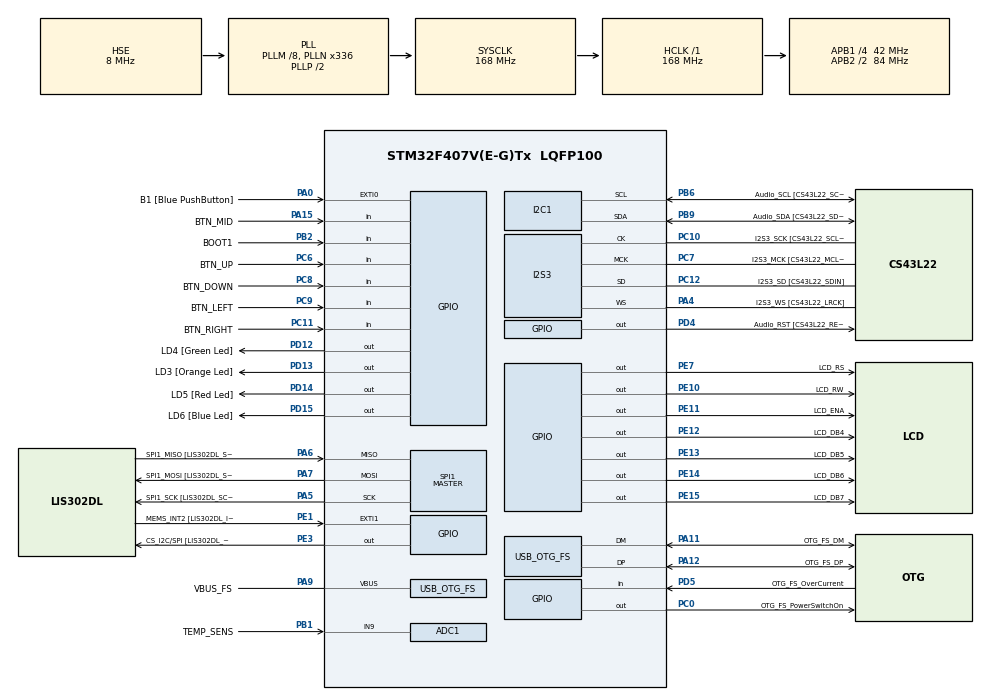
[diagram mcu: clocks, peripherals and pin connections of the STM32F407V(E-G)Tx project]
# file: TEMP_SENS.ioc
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ADC1.Channel-0\#ChannelRegularConversion=ADC_CHANNEL_9
ADC1.NbrOfConversion=1
ADC1.NbrOfConversionFlag=1
ADC1.Rank-0\#ChannelRegularConversion=1
ADC1.SamplingTime-0\#ChannelRegularConversion=ADC_SAMPLETIME_3CYCLES
ADC1.master=1
I2S3.AudioFreq-Half_Duplex_Master=I2S_AUDIOFREQ_96K
I2S3.ErrorAudioFreq=-2.34 %
I2S3.ErrorAudioFreq-Half_Duplex_Master=0.8 %
I2S3.FullDuplexMode=I2S_FULLDUPLEXMODE_DISABLE
I2S3.Instance=SPI$Index
I2S3.RealAudioFreq=93.75 KHz
I2S3.RealAudioFreq-Half_Duplex_Master=96.774 KHz
I2S3.VirtualMode=I2S_MODE_MASTER
Mcu.Family=STM32F4
Mcu.Name=STM32F407V(E-G)Tx
Mcu.Package=LQFP100
NVIC.OTG_FS_IRQn=true\:0\:0\:false\:false\:true\:true\:true\:true
NVIC.PriorityGroup=NVIC_PRIORITYGROUP_0
PA0-WKUP.GPIO_Label=B1 [Blue PushButton]
PA0-WKUP.GPIO_ModeDefaultEXTI=GPIO_MODE_EVT_RISING
PA0-WKUP.GPIO_PuPd=GPIO_NOPULL
PA0-WKUP.Signal=GPXTI0
PA10.GPIO_Label=OTG_FS_ID
PA10.GPIO_Mode=GPIO_MODE_AF_PP
PA10.GPIO_PuPd=GPIO_NOPULL
PA10.GPIO_Speed=GPIO_SPEED_FREQ_LOW
PA10.Signal=USB_OTG_FS_ID
PA11.GPIO_Label=OTG_FS_DM
PA11.GPIO_Mode=GPIO_MODE_AF_PP
PA11.GPIO_PuPd=GPIO_NOPULL
PA11.GPIO_Speed=GPIO_SPEED_FREQ_LOW
PA11.Mode=Host_Only
PA11.Signal=USB_OTG_FS_DM
PA12.GPIO_Label=OTG_FS_DP
PA12.GPIO_Mode=GPIO_MODE_AF_PP
PA12.GPIO_PuPd=GPIO_NOPULL
PA12.GPIO_Speed=GPIO_SPEED_FREQ_LOW
PA12.Mode=Host_Only
PA12.Signal=USB_OTG_FS_DP
PA13.GPIO_Label=SWDIO
PA13.Mode=Serial_Wire
PA13.Signal=SYS_JTMS-SWDIO
PA14.GPIO_Label=SWCLK
PA14.Mode=Serial_Wire
PA14.Signal=SYS_JTCK-SWCLK
PA15.GPIO_Label=BTN_MID
PA15.Signal=GPIO_Input
PA4.GPIO_Label=I2S3_WS [CS43L22_LRCK]
PA4.GPIO_Mode=GPIO_MODE_AF_PP
PA4.GPIO_PuPd=GPIO_NOPULL
PA4.GPIO_Speed=GPIO_SPEED_FREQ_LOW
PA4.Mode=Half_Duplex_Master
PA4.Signal=I2S3_WS
PA5.GPIO_Label=SPI1_SCK [LIS302DL_SCL/SPC]
PA5.GPIO_Mode=GPIO_MODE_AF_PP
PA5.GPIO_PuPd=GPIO_NOPULL
PA5.GPIO_Speed=GPIO_SPEED_FREQ_LOW
PA5.Mode=Full_Duplex_Master
PA5.Signal=SPI1_SCK
PA6.GPIO_Label=SPI1_MISO [LIS302DL_SDO]
PA6.GPIO_Mode=GPIO_MODE_AF_PP
PA6.GPIO_PuPd=GPIO_NOPULL
PA6.GPIO_Speed=GPIO_SPEED_FREQ_LOW
PA6.Mode=Full_Duplex_Master
PA6.Signal=SPI1_MISO
PA7.GPIO_Label=SPI1_MOSI [LIS302DL_SDA/SDI/SDO]
PA7.GPIO_Mode=GPIO_MODE_AF_PP
PA7.GPIO_PuPd=GPIO_NOPULL
PA7.GPIO_Speed=GPIO_SPEED_FREQ_LOW
PA7.Mode=Full_Duplex_Master
PA7.Signal=SPI1_MOSI
PA9.GPIO_Label=VBUS_FS
PA9.GPIO_Mode=GPIO_MODE_INPUT
PA9.GPIO_PuPd=GPIO_NOPULL
PA9.Mode=Activate_VBUS
PA9.Signal=USB_OTG_FS_VBUS
PB1.GPIO_Label=TEMP_SENS
PB1.Signal=ADCx_IN9
PB10.GPIO_Label=CLK_IN [MP45DT02_CLK]
PB10.GPIO_Mode=GPIO_MODE_AF_PP
PB10.GPIO_PuPd=GPIO_NOPULL
PB10.GPIO_Speed=GPIO_SPEED_FREQ_LOW
PB10.Signal=I2S2_CK
PB2.GPIO_Label=BOOT1
PB2.GPIO_Mode=GPIO_MODE_INPUT
PB2.GPIO_PuPd=GPIO_NOPULL
PB2.Signal=GPIO_Input
PB3.GPIO_Label=SWO
PB3.Signal=SYS_JTDO-SWO
PB6.GPIO_Label=Audio_SCL [CS43L22_SCL]
PB6.GPIO_Mode=GPIO_MODE_AF_OD
PB6.GPIO_Pu=GPIO_PULLUP
PB6.GPIO_PuPd=GPIO_NOPULL
PB6.GPIO_Speed=GPIO_SPEED_FREQ_LOW
PB6.Mode=I2C
PB6.Signal=I2C1_SCL
PB9.GPIO_Label=Audio_SDA [CS43L22_SDA]
PB9.GPIO_Mode=GPIO_MODE_AF_OD
PB9.GPIO_Pu=GPIO_PULLUP
PB9.GPIO_PuPd=GPIO_NOPULL
PB9.GPIO_Speed=GPIO_SPEED_FREQ_LOW
PB9.Mode=I2C
PB9.Signal=I2C1_SDA
PC0.GPIO_Label=OTG_FS_PowerSwitchOn
PC0.GPIO_PuPd=GPIO_NOPULL
PC0.GPIO_Speed=GPIO_SPEED_FREQ_LOW
PC0.PinState=GPIO_PIN_SET
PC0.Signal=GPIO_Output
PC10.GPIO_Label=I2S3_SCK [CS43L22_SCLK]
PC10.GPIO_Mode=GPIO_MODE_AF_PP
PC10.GPIO_PuPd=GPIO_NOPULL
PC10.GPIO_Speed=GPIO_SPEED_FREQ_LOW
PC10.Mode=Half_Duplex_Master
PC10.Signal=I2S3_CK
PC11.GPIO_Label=BTN_RIGHT
PC11.Signal=GPIO_Input
PC12.GPIO_Label=I2S3_SD [CS43L22_SDIN]
PC12.GPIO_Mode=GPIO_MODE_AF_PP
PC12.GPIO_PuPd=GPIO_NOPULL
PC12.GPIO_Speed=GPIO_SPEED_FREQ_LOW
PC12.Mode=Half_Duplex_Master
PC12.Signal=I2S3_SD
PC14-OSC32_IN.GPIO_Label=PC14-OSC32_IN
PC14-OSC32_IN.Mode=LSE-External-Oscillator
PC14-OSC32_IN.Signal=RCC_OSC32_IN
PC15-OSC32_OUT.GPIO_Label=PC15-OSC32_OUT
PC15-OSC32_OUT.Mode=LSE-External-Oscillator
PC15-OSC32_OUT.Signal=RCC_OSC32_OUT
PC3.GPIO_Label=PDM_OUT [MP45DT02_DOUT]
PC3.GPIO_Mode=GPIO_MODE_AF_PP
PC3.GPIO_PuPd=GPIO_NOPULL
PC3.GPIO_Speed=GPIO_SPEED_FREQ_LOW
PC3.Signal=I2S2_SD
PC6.GPIO_Label=BTN_UP
PC6.Signal=GPIO_Input
PC7.GPIO_Label=I2S3_MCK [CS43L22_MCLK]
PC7.GPIO_Mode=GPIO_MODE_AF_PP
PC7.GPIO_PuPd=GPIO_NOPULL
PC7.GPIO_Speed=GPIO_SPEED_FREQ_LOW
PC7.Mode=Master_Clock_Activated
PC7.Signal=I2S3_MCK
PC8.GPIO_Label=BTN_DOWN
PC8.Signal=GPIO_Input
PC9.GPIO_Label=BTN_LEFT
PC9.Signal=GPIO_Input
PD12.GPIO_Label=LD4 [Green Led]
PD12.GPIO_PuPd=GPIO_NOPULL
PD12.GPIO_Speed=GPIO_SPEED_FREQ_LOW
PD12.Signal=GPIO_Output
PD13.GPIO_Label=LD3 [Orange Led]
PD13.GPIO_PuPd=GPIO_NOPULL
PD13.GPIO_Speed=GPIO_SPEED_FREQ_LOW
PD13.Signal=GPIO_Output
PD14.GPIO_Label=LD5 [Red Led]
PD14.GPIO_PuPd=GPIO_NOPULL
PD14.GPIO_Speed=GPIO_SPEED_FREQ_LOW
PD14.Signal=GPIO_Output
PD15.GPIO_Label=LD6 [Blue Led]
PD15.GPIO_PuPd=GPIO_NOPULL
PD15.GPIO_Speed=GPIO_SPEED_FREQ_LOW
PD15.Signal=GPIO_Output
PD4.GPIO_Label=Audio_RST [CS43L22_RESET]
PD4.GPIO_PuPd=GPIO_NOPULL
PD4.GPIO_Speed=GPIO_SPEED_FREQ_LOW
PD4.Signal=GPIO_Output
PD5.GPIO_Label=OTG_FS_OverCurrent
PD5.GPIO_Mode=GPIO_MODE_INPUT
PD5.GPIO_PuPd=GPIO_NOPULL
PD5.Signal=GPIO_Input
PE1.GPIO_Label=MEMS_INT2 [LIS302DL_INT2]
PE1.GPIO_ModeDefaultEXTI=GPIO_MODE_EVT_RISING
PE1.GPIO_PuPd=GPIO_NOPULL
PE1.Signal=GPXTI1
PE10.GPIO_Label=LCD_RW
PE10.Signal=GPIO_Output
PE11.GPIO_Label=LCD_ENA
PE11.Signal=GPIO_Output
PE12.GPIO_Label=LCD_DB4
PE12.Signal=GPIO_Output
PE13.GPIO_Label=LCD_DB5
PE13.Signal=GPIO_Output
PE14.GPIO_Label=LCD_DB6
PE14.Signal=GPIO_Output
PE15.GPIO_Label=LCD_DB7
PE15.Signal=GPIO_Output
PE3.GPIO_Label=CS_I2C/SPI [LIS302DL_CS_I2C/SPI]
PE3.GPIO_PuPd=GPIO_NOPULL
PE3.GPIO_Speed=GPIO_SPEED_FREQ_LOW
PE3.Signal=GPIO_Output
PE7.GPIO_Label=LCD_RS
PE7.Signal=GPIO_Output
PE9.Signal=S_TIM1_CH1
PH0-OSC_IN.GPIO_Label=PH0-OSC_IN
PH0-OSC_IN.Mode=HSE-External-Oscillator
PH0-OSC_IN.Signal=RCC_OSC_IN
PH1-OSC_OUT.GPIO_Label=PH1-OSC_OUT
PH1-OSC_OUT.Mode=HSE-External-Oscillator
PH1-OSC_OUT.Signal=RCC_OSC_OUT
ProjectManager.HeapSize=0x200
ProjectManager.StackSize=0x400
ProjectManager.TargetToolchain=STM32CubeIDE
RCC.48MHZClocksFreq_Value=48000000
RCC.AHBFreq_Value=168000000
RCC.APB1CLKDivider=RCC_HCLK_DIV4
RCC.APB1Freq_Value=42000000
RCC.APB1TimFreq_Value=84000000
RCC.APB2CLKDivider=RCC_HCLK_DIV2
RCC.APB2Freq_Value=84000000
RCC.APB2TimFreq_Value=168000000
RCC.CortexFreq_Value=168000000
RCC.HCLKFreq_Value=168000000
RCC.HSE_VALUE=8000000
RCC.HSI_VALUE=16000000
RCC.PLLM=8
RCC.PLLN=336
RCC.PLLQ=7
RCC.SYSCLKFreq_VALUE=168000000
RCC.SYSCLKSource=RCC_SYSCLKSOURCE_PLLCLK
RCC.VCOOutputFreq_Value=336000000
SH.ADCx_IN9.0=ADC1_IN9,IN9
SH.S_TIM1_CH1.0=TIM1_CH1
SPI1.BaudRatePrescaler-Full_Duplex_Master=SPI_BAUDRATEPRESCALER_2
SPI1.CalculateBaudRate-Full_Duplex_Master=42.0 MBits/s
SPI1.Direction=SPI_DIRECTION_2LINES
SPI1.Mode=SPI_MODE_MASTER
SPI1.Mode-Full_Duplex_Master=SPI_MODE_MASTER
SPI1.VirtualType=VM_MASTER
USB_HOST.BSP.number=1
USB_HOST.USBH_HandleTypeDef-CDC_FS=hUsbHostFS
USB_HOST.VirtualModeFS=Cdc
USB_HOST0.BSP.STBoard=false
USB_HOST0.BSP.api=Unknown
USB_HOST0.BSP.instance=PC0
USB_HOST0.BSP.ip=GPIO
USB_HOST0.BSP.mode=Output
USB_HOST0.BSP.name=Drive_VBUS_FS
USB_HOST0.BSP.solution=PC0
USB_OTG_FS.VirtualMode=Host_Only
USB_OTG_FS.phy_itface=HCD_PHY_EMBEDDED
VP_TIM11_VS_ClockSourceINT.Mode=Enable_Timer
VP_USB_HOST_VS_USB_HOST_CDC_FS.Mode=CDC_FS
board=STM32F407G-DISC1

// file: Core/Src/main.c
/* USER CODE BEGIN Header */
/**
  ******************************************************************************
  * @file           : main.c
  * @brief          : Main program body
  ******************************************************************************
  * @attention
  *
  * Copyright (c) 2023 STMicroelectronics.
  * All rights reserved.
  *
  * This software is licensed under terms that can be found in the LICENSE file
  * in the root directory of this software component.
  * If no LICENSE file comes with this software, it is provided AS-IS.
  *
  ******************************************************************************
  */
/* USER CODE END Header */
#include "main.h"
#include "usb_host.h"

/* USER CODE BEGIN Includes */
#include "lcd.h"
#include "buttons.h"
#include "lcd_characters.h"
#include "main_screen.h"
#include "change_datetime_screen.h"
#include "change_temperature_screen.h"
#include "history_screen.h"
#include "temp_meter.h"
#include "screens_manager.h"

/* USER CODE END Includes */

ADC_HandleTypeDef hadc1;

I2C_HandleTypeDef hi2c1;

I2S_HandleTypeDef hi2s3;

SPI_HandleTypeDef hspi1;

TIM_HandleTypeDef htim11;

/* USER CODE BEGIN PV */
static Lcd_PortType ports[] = {
		LCD_DB4_GPIO_Port,
		LCD_DB5_GPIO_Port,
		LCD_DB6_GPIO_Port,
		LCD_DB7_GPIO_Port
};

static Lcd_PinType pins[] = {
		LCD_DB4_Pin,
		LCD_DB5_Pin,
		LCD_DB6_Pin,
		LCD_DB7_Pin
};

static Lcd_HandleTypeDef lcd;

static uint8_t screen_index = 0;
static uint8_t last_screen_index = 0;
/* USER CODE END PV */

void SystemClock_Config(void);
static void MX_GPIO_Init(void);
static void MX_ADC1_Init(void);
static void MX_I2C1_Init(void);
static void MX_I2S3_Init(void);
static void MX_SPI1_Init(void);
static void MX_TIM11_Init(void);
void MX_USB_HOST_Process(void);

int main(void)
{

  /* MCU Configuration--------------------------------------------------------*/

  /* Reset of all peripherals, Initializes the Flash interface and the Systick. */
  HAL_Init();

  /* Configure the system clock */
  SystemClock_Config();

  /* Initialize all configured peripherals */
  MX_GPIO_Init();
  MX_ADC1_Init();
  MX_I2C1_Init();
  MX_I2S3_Init();
  MX_SPI1_Init();
  MX_USB_HOST_Init();
  MX_TIM11_Init();
  /* USER CODE BEGIN 2 */
	lcd = Lcd_create(
			ports,
			pins,
			LCD_RS_GPIO_Port,
			LCD_RS_Pin,
			LCD_ENA_GPIO_Port,
			LCD_ENA_Pin,
			LCD_4_BIT_MODE
	);

	Lcd_define_char(&lcd, 1, celsiusChar);
	Lcd_define_char(&lcd, 2, alarmCelsiusChar);
	Lcd_define_char(&lcd, 3, arrowUpChar);
	Lcd_define_char(&lcd, 4, arrowDownChar);

	tempMeterInit(&lcd, &hadc1);
	screensManagerInit(&lcd, &last_screen_index, &screen_index);

	mainScreenInit(&lcd);
	changeTemperatureScreenInit(&lcd);
	changeDateTimeScreenInit(&lcd);
	historyScreenInit(&lcd);

	setBtnUpFun(&doNothing);
	setBtnDownFun(&doNothing);
	setBtnLeftFun(&decrementDisplayIndex);
	setBtnMidFun(&doNothing);
	setBtnRightFun(&incrementDisplayIndex);
  /* USER CODE END 2 */

  /* Infinite loop */
  /* USER CODE BEGIN WHILE */
	while(1)
	{
		cycleThroughSecond();
		callFunctionByButtonPushed();
		switch (getScreenIndex())
		{
			case 0:
				displayMainScreen();
				break;
			case 1:
				displayChangeDateTimeScreen();
				break;
			case 2:
				displayChangeTemperatureScreen();
				break;
			case 3:
				displayHistoryScreen();
				break;
		}
		setLastScreenIndex();
		checkTemperatureState();
	}
    /* USER CODE END WHILE */
    MX_USB_HOST_Process();

}

void SystemClock_Config(void)
{
  RCC_OscInitTypeDef RCC_OscInitStruct = {0};
  RCC_ClkInitTypeDef RCC_ClkInitStruct = {0};

  /** Configure the main internal regulator output voltage
  */
  __HAL_RCC_PWR_CLK_ENABLE();
  __HAL_PWR_VOLTAGESCALING_CONFIG(PWR_REGULATOR_VOLTAGE_SCALE1);

  /** Initializes the RCC Oscillators according to the specified parameters
  * in the RCC_OscInitTypeDef structure.
  */
  RCC_OscInitStruct.OscillatorType = RCC_OSCILLATORTYPE_HSE;
  RCC_OscInitStruct.HSEState = RCC_HSE_ON;
  RCC_OscInitStruct.PLL.PLLState = RCC_PLL_ON;
  RCC_OscInitStruct.PLL.PLLSource = RCC_PLLSOURCE_HSE;
  RCC_OscInitStruct.PLL.PLLM = 8;
  RCC_OscInitStruct.PLL.PLLN = 336;
  RCC_OscInitStruct.PLL.PLLP = RCC_PLLP_DIV2;
  RCC_OscInitStruct.PLL.PLLQ = 7;
  if (HAL_RCC_OscConfig(&RCC_OscInitStruct) != HAL_OK)
  {
    Error_Handler();
  }

  /** Initializes the CPU, AHB and APB buses clocks
  */
  RCC_ClkInitStruct.ClockType = RCC_CLOCKTYPE_HCLK|RCC_CLOCKTYPE_SYSCLK
                              |RCC_CLOCKTYPE_PCLK1|RCC_CLOCKTYPE_PCLK2;
  RCC_ClkInitStruct.SYSCLKSource = RCC_SYSCLKSOURCE_PLLCLK;
  RCC_ClkInitStruct.AHBCLKDivider = RCC_SYSCLK_DIV1;
  RCC_ClkInitStruct.APB1CLKDivider = RCC_HCLK_DIV4;
  RCC_ClkInitStruct.APB2CLKDivider = RCC_HCLK_DIV2;

  if (HAL_RCC_ClockConfig(&RCC_ClkInitStruct, FLASH_LATENCY_5) != HAL_OK)
  {
    Error_Handler();
  }
}

static void MX_ADC1_Init(void)
{

  ADC_ChannelConfTypeDef sConfig = {0};

  /** Configure the global features of the ADC (Clock, Resolution, Data Alignment and number of conversion)
  */
  hadc1.Instance = ADC1;
  hadc1.Init.ClockPrescaler = ADC_CLOCK_SYNC_PCLK_DIV4;
  hadc1.Init.Resolution = ADC_RESOLUTION_12B;
  hadc1.Init.ScanConvMode = DISABLE;
  hadc1.Init.ContinuousConvMode = DISABLE;
  hadc1.Init.DiscontinuousConvMode = DISABLE;
  hadc1.Init.ExternalTrigConvEdge = ADC_EXTERNALTRIGCONVEDGE_NONE;
  hadc1.Init.ExternalTrigConv = ADC_SOFTWARE_START;
  hadc1.Init.DataAlign = ADC_DATAALIGN_RIGHT;
  hadc1.Init.NbrOfConversion = 1;
  hadc1.Init.DMAContinuousRequests = DISABLE;
  hadc1.Init.EOCSelection = ADC_EOC_SINGLE_CONV;
  if (HAL_ADC_Init(&hadc1) != HAL_OK)
  {
    Error_Handler();
  }

  /** Configure for the selected ADC regular channel its corresponding rank in the sequencer and its sample time.
  */
  sConfig.Channel = ADC_CHANNEL_9;
  sConfig.Rank = 1;
  sConfig.SamplingTime = ADC_SAMPLETIME_3CYCLES;
  if (HAL_ADC_ConfigChannel(&hadc1, &sConfig) != HAL_OK)
  {
    Error_Handler();
  }

}

static void MX_I2C1_Init(void)
{

  hi2c1.Instance = I2C1;
  hi2c1.Init.ClockSpeed = 100000;
  hi2c1.Init.DutyCycle = I2C_DUTYCYCLE_2;
  hi2c1.Init.OwnAddress1 = 0;
  hi2c1.Init.AddressingMode = I2C_ADDRESSINGMODE_7BIT;
  hi2c1.Init.DualAddressMode = I2C_DUALADDRESS_DISABLE;
  hi2c1.Init.OwnAddress2 = 0;
  hi2c1.Init.GeneralCallMode = I2C_GENERALCALL_DISABLE;
  hi2c1.Init.NoStretchMode = I2C_NOSTRETCH_DISABLE;
  if (HAL_I2C_Init(&hi2c1) != HAL_OK)
  {
    Error_Handler();
  }

}

static void MX_I2S3_Init(void)
{

  hi2s3.Instance = SPI3;
  hi2s3.Init.Mode = I2S_MODE_MASTER_TX;
  hi2s3.Init.Standard = I2S_STANDARD_PHILIPS;
  hi2s3.Init.DataFormat = I2S_DATAFORMAT_16B;
  hi2s3.Init.MCLKOutput = I2S_MCLKOUTPUT_ENABLE;
  hi2s3.Init.AudioFreq = I2S_AUDIOFREQ_96K;
  hi2s3.Init.CPOL = I2S_CPOL_LOW;
  hi2s3.Init.ClockSource = I2S_CLOCK_PLL;
  hi2s3.Init.FullDuplexMode = I2S_FULLDUPLEXMODE_DISABLE;
  if (HAL_I2S_Init(&hi2s3) != HAL_OK)
  {
    Error_Handler();
  }

}

static void MX_SPI1_Init(void)
{

  /* SPI1 parameter configuration*/
  hspi1.Instance = SPI1;
  hspi1.Init.Mode = SPI_MODE_MASTER;
  hspi1.Init.Direction = SPI_DIRECTION_2LINES;
  hspi1.Init.DataSize = SPI_DATASIZE_8BIT;
  hspi1.Init.CLKPolarity = SPI_POLARITY_LOW;
  hspi1.Init.CLKPhase = SPI_PHASE_1EDGE;
  hspi1.Init.NSS = SPI_NSS_SOFT;
  hspi1.Init.BaudRatePrescaler = SPI_BAUDRATEPRESCALER_2;
  hspi1.Init.FirstBit = SPI_FIRSTBIT_MSB;
  hspi1.Init.TIMode = SPI_TIMODE_DISABLE;
  hspi1.Init.CRCCalculation = SPI_CRCCALCULATION_DISABLE;
  hspi1.Init.CRCPolynomial = 10;
  if (HAL_SPI_Init(&hspi1) != HAL_OK)
  {
    Error_Handler();
  }

}

static void MX_TIM11_Init(void)
{

  htim11.Instance = TIM11;
  htim11.Init.Prescaler = 0;
  htim11.Init.CounterMode = TIM_COUNTERMODE_UP;
  htim11.Init.Period = 65535;
  htim11.Init.ClockDivision = TIM_CLOCKDIVISION_DIV1;
  htim11.Init.AutoReloadPreload = TIM_AUTORELOAD_PRELOAD_DISABLE;
  if (HAL_TIM_Base_Init(&htim11) != HAL_OK)
  {
    Error_Handler();
  }

}

static void MX_GPIO_Init(void)
{
  GPIO_InitTypeDef GPIO_InitStruct = {0};

  /* GPIO Ports Clock Enable */
  __HAL_RCC_GPIOE_CLK_ENABLE();
  __HAL_RCC_GPIOC_CLK_ENABLE();
  __HAL_RCC_GPIOH_CLK_ENABLE();
  __HAL_RCC_GPIOA_CLK_ENABLE();
  __HAL_RCC_GPIOB_CLK_ENABLE();
  __HAL_RCC_GPIOD_CLK_ENABLE();

  /*Configure GPIO pin Output Level */
  HAL_GPIO_WritePin(GPIOE, CS_I2C_SPI_Pin|LCD_RS_Pin|LCD_RW_Pin|LCD_ENA_Pin
                          |LCD_DB4_Pin|LCD_DB5_Pin|LCD_DB6_Pin|LCD_DB7_Pin, GPIO_PIN_RESET);

  /*Configure GPIO pin Output Level */
  HAL_GPIO_WritePin(OTG_FS_PowerSwitchOn_GPIO_Port, OTG_FS_PowerSwitchOn_Pin, GPIO_PIN_SET);

  /*Configure GPIO pin Output Level */
  HAL_GPIO_WritePin(GPIOD, LD4_Pin|LD3_Pin|LD5_Pin|LD6_Pin
                          |Audio_RST_Pin, GPIO_PIN_RESET);

  /*Configure GPIO pins : CS_I2C_SPI_Pin LCD_RS_Pin LCD_RW_Pin LCD_ENA_Pin
                           LCD_DB4_Pin LCD_DB5_Pin LCD_DB6_Pin LCD_DB7_Pin */
  GPIO_InitStruct.Pin = CS_I2C_SPI_Pin|LCD_RS_Pin|LCD_RW_Pin|LCD_ENA_Pin
                          |LCD_DB4_Pin|LCD_DB5_Pin|LCD_DB6_Pin|LCD_DB7_Pin;
  GPIO_InitStruct.Mode = GPIO_MODE_OUTPUT_PP;
  GPIO_InitStruct.Pull = GPIO_NOPULL;
  GPIO_InitStruct.Speed = GPIO_SPEED_FREQ_LOW;
  HAL_GPIO_Init(GPIOE, &GPIO_InitStruct);

  /*Configure GPIO pin : OTG_FS_PowerSwitchOn_Pin */
  GPIO_InitStruct.Pin = OTG_FS_PowerSwitchOn_Pin;
  GPIO_InitStruct.Mode = GPIO_MODE_OUTPUT_PP;
  GPIO_InitStruct.Pull = GPIO_NOPULL;
  GPIO_InitStruct.Speed = GPIO_SPEED_FREQ_LOW;
  HAL_GPIO_Init(OTG_FS_PowerSwitchOn_GPIO_Port, &GPIO_InitStruct);

  /*Configure GPIO pin : PDM_OUT_Pin */
  GPIO_InitStruct.Pin = PDM_OUT_Pin;
  GPIO_InitStruct.Mode = GPIO_MODE_AF_PP;
  GPIO_InitStruct.Pull = GPIO_NOPULL;
  GPIO_InitStruct.Speed = GPIO_SPEED_FREQ_LOW;
  GPIO_InitStruct.Alternate = GPIO_AF5_SPI2;
  HAL_GPIO_Init(PDM_OUT_GPIO_Port, &GPIO_InitStruct);

  /*Configure GPIO pin : B1_Pin */
  GPIO_InitStruct.Pin = B1_Pin;
  GPIO_InitStruct.Mode = GPIO_MODE_EVT_RISING;
  GPIO_InitStruct.Pull = GPIO_NOPULL;
  HAL_GPIO_Init(B1_GPIO_Port, &GPIO_InitStruct);

  /*Configure GPIO pin : BOOT1_Pin */
  GPIO_InitStruct.Pin = BOOT1_Pin;
  GPIO_InitStruct.Mode = GPIO_MODE_INPUT;
  GPIO_InitStruct.Pull = GPIO_NOPULL;
  HAL_GPIO_Init(BOOT1_GPIO_Port, &GPIO_InitStruct);

  /*Configure GPIO pin : PE9 */
  GPIO_InitStruct.Pin = GPIO_PIN_9;
  GPIO_InitStruct.Mode = GPIO_MODE_AF_PP;
  GPIO_InitStruct.Pull = GPIO_NOPULL;
  GPIO_InitStruct.Speed = GPIO_SPEED_FREQ_LOW;
  GPIO_InitStruct.Alternate = GPIO_AF1_TIM1;
  HAL_GPIO_Init(GPIOE, &GPIO_InitStruct);

  /*Configure GPIO pin : CLK_IN_Pin */
  GPIO_InitStruct.Pin = CLK_IN_Pin;
  GPIO_InitStruct.Mode = GPIO_MODE_AF_PP;
  GPIO_InitStruct.Pull = GPIO_NOPULL;
  GPIO_InitStruct.Speed = GPIO_SPEED_FREQ_LOW;
  GPIO_InitStruct.Alternate = GPIO_AF5_SPI2;
  HAL_GPIO_Init(CLK_IN_GPIO_Port, &GPIO_InitStruct);

  /*Configure GPIO pins : LD4_Pin LD3_Pin LD5_Pin LD6_Pin
                           Audio_RST_Pin */
  GPIO_InitStruct.Pin = LD4_Pin|LD3_Pin|LD5_Pin|LD6_Pin
                          |Audio_RST_Pin;
  GPIO_InitStruct.Mode = GPIO_MODE_OUTPUT_PP;
  GPIO_InitStruct.Pull = GPIO_NOPULL;
  GPIO_InitStruct.Speed = GPIO_SPEED_FREQ_LOW;
  HAL_GPIO_Init(GPIOD, &GPIO_InitStruct);

  /*Configure GPIO pins : BTN_UP_Pin BTN_DOWN_Pin BTN_LEFT_Pin BTN_RIGHT_Pin */
  GPIO_InitStruct.Pin = BTN_UP_Pin|BTN_DOWN_Pin|BTN_LEFT_Pin|BTN_RIGHT_Pin;
  GPIO_InitStruct.Mode = GPIO_MODE_INPUT;
  GPIO_InitStruct.Pull = GPIO_NOPULL;
  HAL_GPIO_Init(GPIOC, &GPIO_InitStruct);

  /*Configure GPIO pin : BTN_MID_Pin */
  GPIO_InitStruct.Pin = BTN_MID_Pin;
  GPIO_InitStruct.Mode = GPIO_MODE_INPUT;
  GPIO_InitStruct.Pull = GPIO_NOPULL;
  HAL_GPIO_Init(BTN_MID_GPIO_Port, &GPIO_InitStruct);

  /*Configure GPIO pin : OTG_FS_OverCurrent_Pin */
  GPIO_InitStruct.Pin = OTG_FS_OverCurrent_Pin;
  GPIO_InitStruct.Mode = GPIO_MODE_INPUT;
  GPIO_InitStruct.Pull = GPIO_NOPULL;
  HAL_GPIO_Init(OTG_FS_OverCurrent_GPIO_Port, &GPIO_InitStruct);

  /*Configure GPIO pin : MEMS_INT2_Pin */
  GPIO_InitStruct.Pin = MEMS_INT2_Pin;
  GPIO_InitStruct.Mode = GPIO_MODE_EVT_RISING;
  GPIO_InitStruct.Pull = GPIO_NOPULL;
  HAL_GPIO_Init(MEMS_INT2_GPIO_Port, &GPIO_InitStruct);

}

void Error_Handler(void)
{
  __disable_irq();
  while (1)
  {
  }
}
